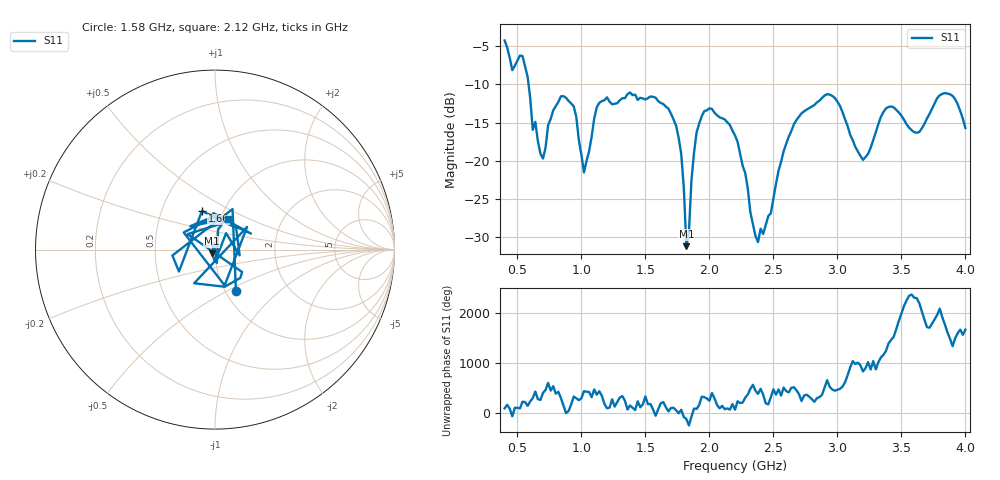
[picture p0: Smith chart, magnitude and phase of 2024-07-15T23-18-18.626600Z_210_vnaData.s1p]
!Created with skrf (http://scikit-rf.org).
# Hz S RI R 50.0
!freq ReS11 ImS11
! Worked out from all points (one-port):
!   181 points, 400 MHz to 4 GHz, reference 50 ohm
!   lowest |S11| = -31.2 dB at 1.82 GHz (marker M1), VSWR 1.06, Z = 48.3 - j2.08 ohm
!   |S11| at or under -10 dB: 587.2 MHz to end of sweep
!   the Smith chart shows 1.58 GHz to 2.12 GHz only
!   S11 on the Smith chart (normalised r, x): 1.58 GHz: 1.12, -0.56; 1.66 GHz: 0.79, +0.36; 2.12 GHz: 1.08, +0.39
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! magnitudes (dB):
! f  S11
! 400 MHz  -4.2
! 460 MHz  -8.1
! 540 MHz  -6.3
! 620 MHz  -15.9
! 700 MHz  -19.7
! 860 MHz  -11.5
! 940 MHz  -12.9
! 1.02 GHz  -21.5
! 1.12 GHz  -13.0
! 1.3 GHz  -12.1
! 1.58 GHz  -11.7
! 1.66 GHz  -12.9
! 1.76 GHz  -17.0
! 1.8 GHz  -23.5
! 1.82 GHz  -31.2
! 1.88 GHz  -18.9
! 1.92 GHz  -15.1
! 2.12 GHz  -14.6
! 2.2 GHz  -16.7
! 2.38 GHz  -30.7
! 2.66 GHz  -15.2
! 2.92 GHz  -11.3
! 3.1 GHz  -16.6
! 3.2 GHz  -19.9
! 3.38 GHz  -13.1
! 3.56 GHz  -15.7
! 3.84 GHz  -11.1
! 4 GHz  -15.7
